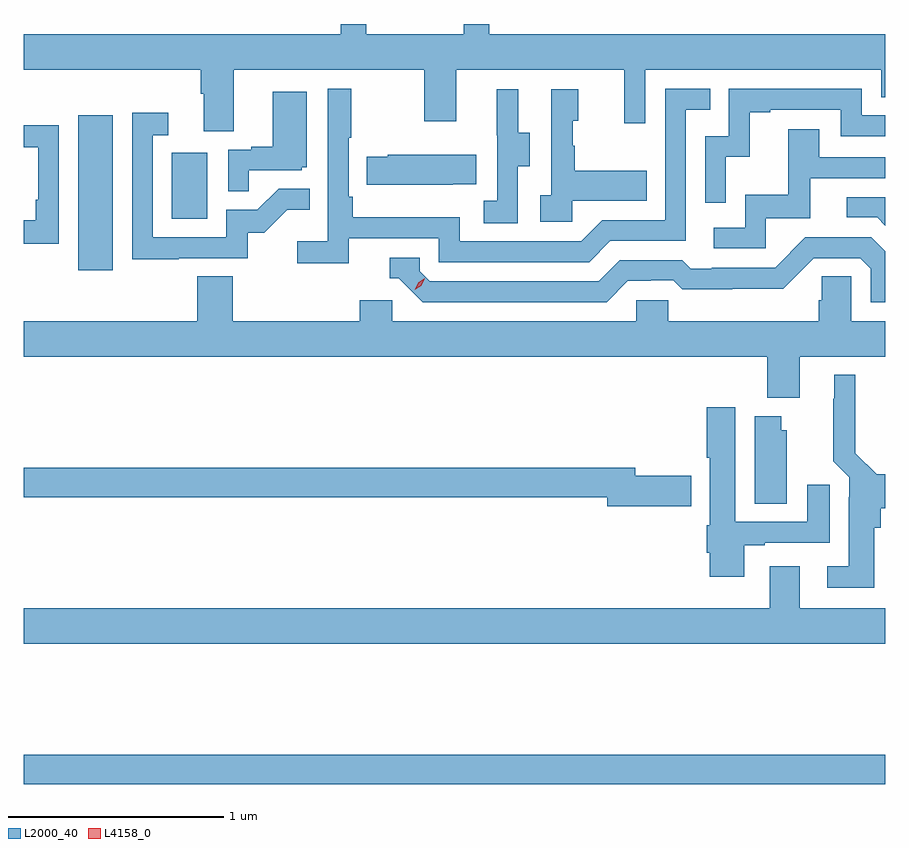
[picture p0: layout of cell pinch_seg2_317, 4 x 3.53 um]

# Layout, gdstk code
import gdstk
lib = gdstk.Library(unit=1e-6, precision=1e-09)
def R(c, l, rs):  # rectangles x0, y0, x1, y1
    for r in rs: c.add(gdstk.rectangle(r[:2], r[2:], *l))
def P(c, l, *ps):  # polygons
    for p in ps: c.add(gdstk.Polygon(p, *l))
L2000_40 = (2000, 40)
L4158_0 = (4158, 0)

pinch_seg2_317 = lib.new_cell('pinch_seg2_317')
R(pinch_seg2_317, L2000_40, [(947.848,624.34,951.848,624.476), (948.101,626.724,948.262,627.445), (948.536,626.964,948.7,627.271)])
P(pinch_seg2_317, L2000_40, [(948.823,627.656),(949.708,627.656),(949.708,627.417),(949.855,627.417),(949.855,627.656),(950.636,627.656),(950.636,627.408),(950.733,627.408),(950.733,627.656),(951.828,627.656),(951.828,627.529),(951.848,627.529),(951.848,627.82),(950.009,627.82),(950.009,627.868),(949.892,627.868),(949.892,627.82),(949.439,627.82),(949.439,627.868),(949.321,627.868),(949.321,627.82),(947.848,627.82),(947.848,627.656),(948.671,627.656),(948.671,627.544),(948.683,627.544),(948.683,627.37),(948.823,627.37)],
  [(949.358,626.874),(949.776,626.874),(949.776,626.763),(950.473,626.763),(950.572,626.862),(950.922,626.862),(950.922,627.471),(951.035,627.471),(951.035,627.567),(950.826,627.567),(950.826,626.958),(950.535,626.958),(950.436,626.859),(949.872,626.859),(949.872,626.971),(949.376,626.971),(949.376,627.067),(949.356,627.067),(949.356,627.34),(949.369,627.34),(949.369,627.568),(949.26,627.568),(949.26,626.86),(949.119,626.86),(949.119,626.758),(949.358,626.758)],
  [(951.108,627.251),(951.218,627.251),(951.218,627.459),(951.313,627.459),(951.313,627.471),(951.642,627.471),(951.642,627.348),(951.848,627.348),(951.848,627.444),(951.738,627.444),(951.738,627.567),(951.12,627.567),(951.12,627.348),(951.012,627.348),(951.012,627.039),(951.108,627.039)],
  [(950.394,627.047),(950.741,627.047),(950.741,627.187),(950.407,627.187),(950.407,627.302),(950.397,627.302),(950.397,627.42),(950.422,627.42),(950.422,627.565),(950.298,627.565),(950.298,627.074),(950.247,627.074),(950.247,626.949),(950.394,626.949)],
  [(950.142,627.208),(950.197,627.208),(950.197,627.363),(950.143,627.363),(950.143,627.565),(950.045,627.565),(950.045,627.351),(950.046,627.351),(950.046,627.047),(949.983,627.047),(949.983,626.944),(950.142,626.944)],
  [(948.893,627.189),(949.14,627.189),(949.14,627.204),(949.162,627.204),(949.162,627.553),(949.004,627.553),(949.004,627.298),(948.905,627.298),(948.905,627.285),(948.798,627.285),(948.798,627.091),(948.893,627.091)],
  [(948.569,626.781),(948.888,626.781),(948.888,626.898),(948.964,626.898),(949.071,627.005),(949.175,627.005),(949.175,627.104),(949.031,627.104),(948.933,627.006),(948.789,627.006),(948.789,626.877),(948.447,626.877),(948.447,627.351),(948.52,627.351),(948.52,627.457),(948.351,627.457),(948.351,626.776),(948.569,626.776)],
  [(948.012,627.398),(947.848,627.398),(947.848,627.297),(947.916,627.297),(947.916,627.052),(947.903,627.052),(947.903,626.956),(947.848,626.956),(947.848,626.847),(948.012,626.847)],
  [(951.294,626.967),(951.499,626.967),(951.499,627.153),(951.848,627.153),(951.848,627.249),(951.541,627.249),(951.541,627.379),(951.397,627.379),(951.397,627.076),(951.198,627.076),(951.198,626.922),(951.051,626.922),(951.051,626.826),(951.294,626.826)],
  [(949.841,627.125),(949.949,627.125),(949.949,627.262),(949.539,627.262),(949.539,627.252),(949.441,627.252),(949.441,627.122),(949.841,627.122)],
  [(951.848,627.063),(951.669,627.063),(951.669,626.97),(951.81,626.97),(951.848,626.932)],
  [(950.653,626.676),(950.76,626.676),(950.76,626.679),(950.863,626.679),(950.905,626.637),(951.138,626.637),(951.138,626.639),(951.374,626.639),(951.516,626.781),(951.732,626.781),(951.78,626.733),(951.78,626.577),(951.848,626.577),(951.848,626.812),(951.783,626.877),(951.477,626.877),(951.336,626.736),(951.043,626.736),(951.043,626.733),(950.944,626.733),(950.905,626.772),(950.616,626.772),(950.517,626.673),(949.734,626.673),(949.686,626.721),(949.686,626.784),(949.547,626.784),(949.547,626.688),(949.59,626.688),(949.701,626.577),(950.554,626.577)],
  [(951.451,626.324),(951.848,626.324),(951.848,626.488),(951.69,626.488),(951.69,626.696),(951.553,626.696),(951.553,626.586),(951.539,626.586),(951.539,626.488),(950.841,626.488),(950.841,626.586),(950.691,626.586),(950.691,626.488),(949.56,626.488),(949.56,626.586),(949.409,626.586),(949.409,626.488),(948.818,626.488),(948.818,626.696),(948.653,626.696),(948.653,626.488),(947.848,626.488),(947.848,626.324),(951.299,626.324),(951.299,626.132),(951.451,626.132)],
  [(951.796,625.53),(951.827,625.53),(951.827,625.619),(951.848,625.619),(951.848,625.777),(951.807,625.777),(951.709,625.876),(951.709,626.239),(951.611,626.239),(951.611,626.129),(951.607,626.129),(951.607,625.838),(951.681,625.764),(951.681,625.67),(951.677,625.67),(951.677,625.351),(951.579,625.351),(951.579,625.25),(951.796,625.25)],
  [(951.193,625.449),(951.289,625.449),(951.289,625.461),(951.589,625.461),(951.589,625.729),(951.485,625.729),(951.485,625.557),(951.151,625.557),(951.151,626.089),(951.02,626.089),(951.02,625.855),(951.032,625.855),(951.032,625.541),(951.02,625.541),(951.02,625.414),(951.032,625.414),(951.032,625.302),(951.193,625.302)],
  [(951.391,625.983),(951.364,625.983),(951.364,626.047),(951.242,626.047),(951.242,625.642),(951.391,625.642)],
  [(950.947,625.772),(950.686,625.772),(950.686,625.808),(947.848,625.808),(947.848,625.672),(950.558,625.672),(950.558,625.63),(950.947,625.63)],
  [(951.848,625.156),(951.451,625.156),(951.451,625.351),(951.311,625.351),(951.311,625.156),(947.848,625.156),(947.848,624.992),(951.848,624.992)])
P(pinch_seg2_317, L4158_0, [(949.663,626.635),(949.663,626.635),(949.679,626.668),(949.71,626.687),(949.71,626.687),(949.71,626.686),(949.694,626.654),(949.663,626.635)])

lib.write_gds('pinch_seg2_317.gds')
